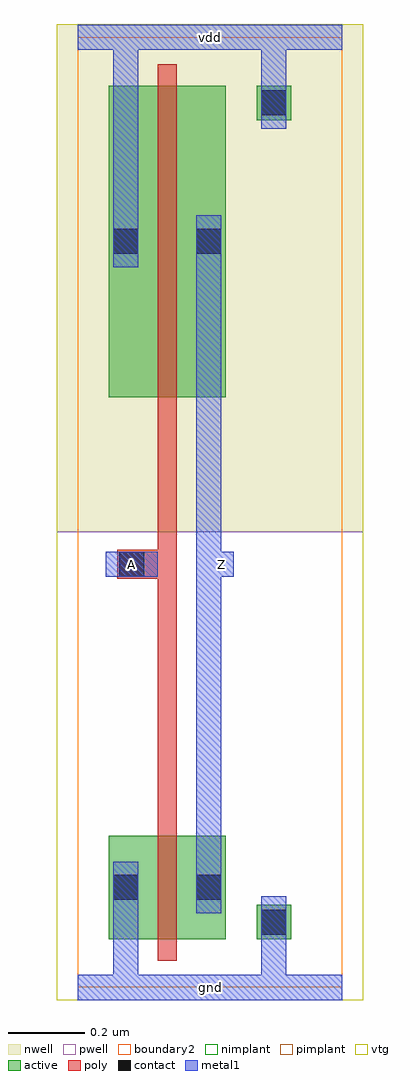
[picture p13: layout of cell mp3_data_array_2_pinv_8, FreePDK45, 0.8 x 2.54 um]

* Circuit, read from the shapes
.subckt mp3_data_array_2_pinv_8 A Z gnd vdd
M1 Z A gnd gnd nfet w=0.27u l=0.05u
M2 Z A vdd vdd pfet w=0.81u l=0.05u
.ends

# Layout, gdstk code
import gdstk
lib = gdstk.Library(unit=1e-6, precision=5e-10)
def R(c, l, rs):  # rectangles x0, y0, x1, y1
    for r in rs: c.add(gdstk.rectangle(r[:2], r[2:], *l))
active = (1, 0)
pwell = (2, 0)
nwell = (3, 0)
nimplant = (4, 0)
pimplant = (5, 0)
vtg = (6, 0)
poly = (9, 0)
contact = (10, 0)
metal1 = (11, 0)
boundary2 = (239, 0)

mp3_data_array_2_contact = lib.new_cell('mp3_data_array_2_contact_11')
R(mp3_data_array_2_contact, active, [(0,0.0225,0.09,0.1125)])
R(mp3_data_array_2_contact, nwell, [(-0.055,-0.0325,0.145,0.1675)])
R(mp3_data_array_2_contact, pimplant, [(0,0.0225,0.09,0.1125)])
R(mp3_data_array_2_contact, contact, [(0.0125,0.035,0.0775,0.1)])
R(mp3_data_array_2_contact, metal1, [(0.0125,0,0.0775,0.135)])
R(mp3_data_array_2_contact, boundary2, [(-0.055,-0.0325,0.145,0.1675)])

mp3_data_array_2_pmos_m1 = lib.new_cell('mp3_data_array_2_pmos_m1_w0_810_sm1_dm1_da_p')
R(mp3_data_array_2_pmos_m1, active, [(0,0,0.305,0.81)])
R(mp3_data_array_2_pmos_m1, nwell, [(-0.08,-0.08,0.385,0.89)])
R(mp3_data_array_2_pmos_m1, pimplant, [(0,0,0.305,0.81)])
R(mp3_data_array_2_pmos_m1, vtg, [(-0.08,-0.08,0.385,0.89)])
R(mp3_data_array_2_pmos_m1, poly, [(0.1275,-0.055,0.1775,0.865), (0.1275,-0.055,0.1775,0.865)])
R(mp3_data_array_2_pmos_m1, metal1, [(0.0125,0.3375,0.0775,0.4725), (0.2275,0.3375,0.2925,0.4725)])
R(mp3_data_array_2_pmos_m1, boundary2, [(-0.08,-0.08,0.385,0.89)])
mp3_data_array_2_pmos_m1.add(gdstk.Reference(mp3_data_array_2_contact, (0,0.3375)))
mp3_data_array_2_pmos_m1.add(gdstk.Reference(mp3_data_array_2_contact, (0.215,0.3375)))
mp3_data_array_2_pmos_m1.add(gdstk.Label('G', (0.1525,0.405), layer=9, texttype=0))
mp3_data_array_2_pmos_m1.add(gdstk.Label('S', (0.045,0.405), layer=11, texttype=0))
mp3_data_array_2_pmos_m1.add(gdstk.Label('D', (0.26,0.405), layer=11, texttype=0))

c_mp3_data_array_2_contact = lib.new_cell('mp3_data_array_2_contact_10')
R(c_mp3_data_array_2_contact, active, [(0,0.0225,0.09,0.1125)])
R(c_mp3_data_array_2_contact, pwell, [(-0.055,-0.0325,0.145,0.1675)])
R(c_mp3_data_array_2_contact, nimplant, [(0,0.0225,0.09,0.1125)])
R(c_mp3_data_array_2_contact, contact, [(0.0125,0.035,0.0775,0.1)])
R(c_mp3_data_array_2_contact, metal1, [(0.0125,0,0.0775,0.135)])
R(c_mp3_data_array_2_contact, boundary2, [(-0.055,-0.0325,0.145,0.1675)])

mp3_data_array_2_nmos_m1 = lib.new_cell('mp3_data_array_2_nmos_m1_w0_270_sm1_dm1_da_p')
R(mp3_data_array_2_nmos_m1, active, [(0,0,0.305,0.27)])
R(mp3_data_array_2_nmos_m1, pwell, [(-0.08,-0.08,0.385,0.35)])
R(mp3_data_array_2_nmos_m1, nimplant, [(0,0,0.305,0.27)])
R(mp3_data_array_2_nmos_m1, vtg, [(-0.08,-0.08,0.385,0.35)])
R(mp3_data_array_2_nmos_m1, poly, [(0.1275,-0.055,0.1775,0.325), (0.1275,-0.055,0.1775,0.325)])
R(mp3_data_array_2_nmos_m1, metal1, [(0.0125,0.0675,0.0775,0.2025), (0.2275,0.0675,0.2925,0.2025)])
R(mp3_data_array_2_nmos_m1, boundary2, [(-0.08,-0.08,0.385,0.35)])
mp3_data_array_2_nmos_m1.add(gdstk.Reference(c_mp3_data_array_2_contact, (0,0.0675)))
mp3_data_array_2_nmos_m1.add(gdstk.Reference(c_mp3_data_array_2_contact, (0.215,0.0675)))
mp3_data_array_2_nmos_m1.add(gdstk.Label('G', (0.1525,0.135), layer=9, texttype=0))
mp3_data_array_2_nmos_m1.add(gdstk.Label('S', (0.045,0.135), layer=11, texttype=0))
mp3_data_array_2_nmos_m1.add(gdstk.Label('D', (0.26,0.135), layer=11, texttype=0))

c_mp3_data_array_2_contact_ = lib.new_cell('mp3_data_array_2_contact_12')
R(c_mp3_data_array_2_contact_, active, [(0,0.0225,0.09,0.1125)])
R(c_mp3_data_array_2_contact_, nwell, [(-0.055,-0.0325,0.145,0.1675)])
R(c_mp3_data_array_2_contact_, nimplant, [(0,0.0225,0.09,0.1125)])
R(c_mp3_data_array_2_contact_, contact, [(0.0125,0.035,0.0775,0.1)])
R(c_mp3_data_array_2_contact_, metal1, [(0.0125,0,0.0775,0.135)])
R(c_mp3_data_array_2_contact_, boundary2, [(-0.055,-0.0325,0.145,0.1675)])

c_mp3_data_array_2_contact__ = lib.new_cell('mp3_data_array_2_contact_13')
R(c_mp3_data_array_2_contact__, active, [(0,0.0225,0.09,0.1125)])
R(c_mp3_data_array_2_contact__, pwell, [(-0.055,-0.0325,0.145,0.1675)])
R(c_mp3_data_array_2_contact__, pimplant, [(0,0.0225,0.09,0.1125)])
R(c_mp3_data_array_2_contact__, contact, [(0.0125,0.035,0.0775,0.1)])
R(c_mp3_data_array_2_contact__, metal1, [(0.0125,0,0.0775,0.135)])
R(c_mp3_data_array_2_contact__, boundary2, [(-0.055,-0.0325,0.145,0.1675)])

c_mp3_data_array_2_contact___ = lib.new_cell('mp3_data_array_2_contact_14')
R(c_mp3_data_array_2_contact___, poly, [(0.03,0,0.105,0.075)])
R(c_mp3_data_array_2_contact___, contact, [(0.035,0.005,0.1,0.07)])
R(c_mp3_data_array_2_contact___, metal1, [(0,0.005,0.135,0.07)])
R(c_mp3_data_array_2_contact___, boundary2, [(0,0,0.135,0.075)])

mp3_data_array_2_pinv_8 = lib.new_cell('mp3_data_array_2_pinv_8')
R(mp3_data_array_2_pinv_8, pwell, [(-0.055,-0.0325,0.7425,1.185)])
R(mp3_data_array_2_pinv_8, nwell, [(-0.055,1.185,0.7425,2.505)])
R(mp3_data_array_2_pinv_8, vtg, [(-0.055,-0.0325,0.7425,1.185), (-0.055,1.185,0.7425,2.505)])
R(mp3_data_array_2_pinv_8, poly, [(0.2075,0.45,0.2575,1.48), (0.14,1.0625,0.2075,1.1375)])
R(mp3_data_array_2_pinv_8, metal1, [(0,-0.0325,0.6875,0.0325), (0.0925,-0.0325,0.1575,0.1925), (0.4775,0,0.5425,0.17), (0.3075,0.1925,0.3725,2.0075), (0.0725,1.0675,0.2075,1.1325), (0.34,1.0675,0.405,1.1325), (0.0925,1.8725,0.1575,2.5025), (0.4775,2.3,0.5425,2.47), (0,2.4375,0.6875,2.5025)])
R(mp3_data_array_2_pinv_8, boundary2, [(0,0,0.6875,2.47), (0,0,0.6875,2.47)])
mp3_data_array_2_pinv_8.add(gdstk.Reference(mp3_data_array_2_pmos_m1, (0.08,1.535)))
mp3_data_array_2_pinv_8.add(gdstk.Reference(mp3_data_array_2_nmos_m1, (0.08,0.125)))
mp3_data_array_2_pinv_8.add(gdstk.Reference(c_mp3_data_array_2_contact_, (0.465,2.2325)))
mp3_data_array_2_pinv_8.add(gdstk.Reference(c_mp3_data_array_2_contact__, (0.465,0.1025)))
mp3_data_array_2_pinv_8.add(gdstk.Reference(c_mp3_data_array_2_contact___, (0.0725,1.0625)))
mp3_data_array_2_pinv_8.add(gdstk.Label('A', (0.14,1.1), layer=11, texttype=0))
mp3_data_array_2_pinv_8.add(gdstk.Label('Z', (0.3725,1.1), layer=11, texttype=0))
mp3_data_array_2_pinv_8.add(gdstk.Label('gnd', (0.344,0), layer=11, texttype=0))
mp3_data_array_2_pinv_8.add(gdstk.Label('vdd', (0.344,2.47), layer=11, texttype=0))

lib.write_gds('mp3_data_array_2_pinv_8.gds')
